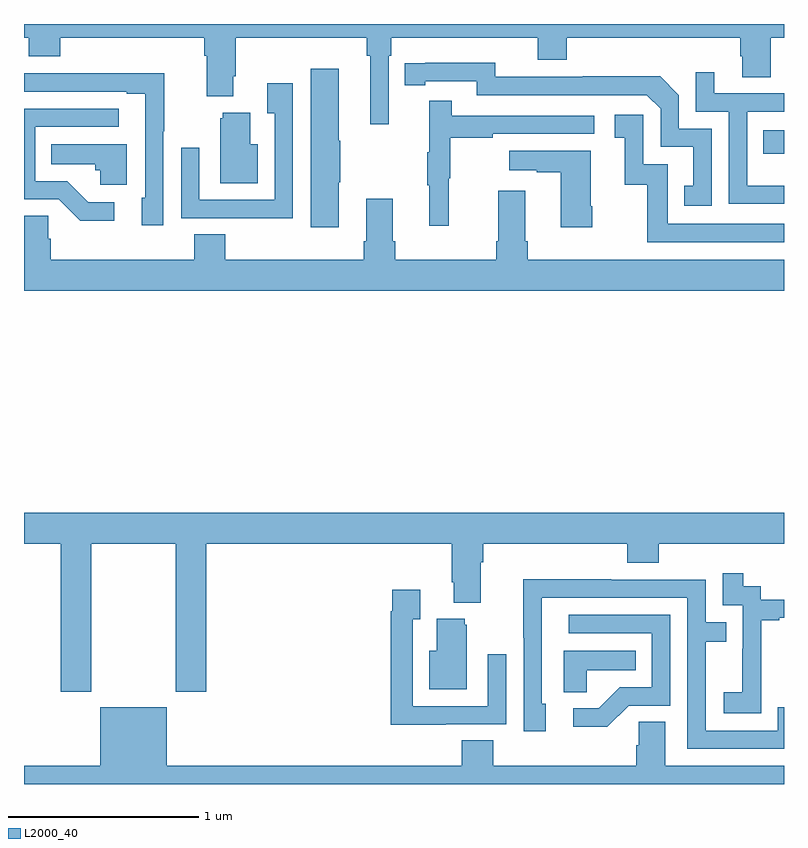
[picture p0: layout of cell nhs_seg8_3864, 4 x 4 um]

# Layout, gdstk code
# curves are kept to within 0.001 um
import gdstk
lib = gdstk.Library(unit=1e-6, precision=1e-09)
def R(c, l, rs):  # rectangles x0, y0, x1, y1
    for r in rs: c.add(gdstk.rectangle(r[:2], r[2:], *l))
def P(c, l, *ps):  # polygons
    for p in ps: c.add(gdstk.Polygon(p, *l))
L2000_40 = (2000, 40)

nhs_seg8_3864 = lib.new_cell('nhs_seg8_3864')
R(nhs_seg8_3864, L2000_40, [(352.891,1121.217,353,1121.34)])
P(nhs_seg8_3864, L2000_40, [(350.919,1121.732),(350.933,1121.732),(350.933,1121.828),(351.704,1121.828),(351.704,1121.711),(351.857,1121.711),(351.857,1121.828),(352.769,1121.828),(352.769,1121.73),(352.781,1121.73),(352.781,1121.62),(352.929,1121.62),(352.929,1121.828),(353,1121.828),(353,1121.9),(349,1121.9),(349,1121.828),(349.025,1121.828),(349.025,1121.729),(349.19,1121.729),(349.19,1121.828),(349.949,1121.828),(349.949,1121.732),(349.961,1121.732),(349.961,1121.519),(350.101,1121.519),(350.101,1121.626),(350.114,1121.626),(350.114,1121.828),(350.803,1121.828),(350.803,1121.732),(350.822,1121.732),(350.822,1121.373),(350.919,1121.373)],
  [(352.62,1121.349),(352.446,1121.349),(352.446,1121.526),(352.348,1121.624),(351.94,1121.624),(351.94,1121.622),(351.48,1121.622),(351.48,1121.695),(351.004,1121.694),(351.004,1121.578),(351.112,1121.578),(351.112,1121.598),(351.384,1121.598),(351.384,1121.526),(352.278,1121.526),(352.35,1121.454),(352.35,1121.253),(352.523,1121.253),(352.523,1121.049),(352.474,1121.049),(352.474,1120.944),(352.62,1120.944)],
  [(350.656,1121.068),(350.664,1121.068),(350.664,1121.285),(350.656,1121.285),(350.656,1121.665),(350.51,1121.665),(350.51,1120.83),(350.656,1120.83)],
  [(353,1121.05),(352.806,1121.05),(352.806,1121.439),(353,1121.439),(353,1121.535),(352.633,1121.535),(352.633,1121.647),(352.536,1121.647),(352.536,1121.439),(352.71,1121.439),(352.71,1120.953),(353,1120.953)],
  [(349.734,1121.335),(349.737,1121.335),(349.737,1121.642),(349.273,1121.642),(349.273,1121.64),(349,1121.64),(349,1121.544),(349.541,1121.544),(349.541,1121.532),(349.638,1121.532),(349.638,1120.986),(349.619,1120.986),(349.619,1120.842),(349.734,1120.842)],
  [(350.415,1121.587),(350.279,1121.587),(350.279,1121.431),(350.319,1121.431),(350.319,1120.974),(349.923,1120.974),(349.923,1121.248),(349.827,1121.248),(349.827,1120.878),(350.143,1120.878),(350.143,1120.877),(350.415,1120.877)],
  [(351.236,1121.088),(351.244,1121.088),(351.244,1121.302),(351.467,1121.302),(351.467,1121.322),(352,1121.322),(352,1121.418),(351.251,1121.418),(351.251,1121.497),(351.134,1121.497),(351.134,1121.225),(351.123,1121.225),(351.123,1121.051),(351.134,1121.051),(351.134,1120.839),(351.236,1120.839)],
  [(349.474,1120.962),(349.339,1120.962),(349.228,1121.073),(349.059,1121.073),(349.059,1121.358),(349.498,1121.358),(349.498,1121.454),(349,1121.454),(349,1120.977),(349.182,1120.977),(349.295,1120.865),(349.474,1120.865)],
  [(350.23,1121.266),(350.191,1121.266),(350.191,1121.434),(350.045,1121.434),(350.045,1121.403),(350.033,1121.403),(350.033,1121.063),(350.23,1121.063)],
  [(353,1120.848),(352.389,1120.848),(352.389,1121.163),(352.26,1121.163),(352.26,1121.422),(352.11,1121.422),(352.11,1121.301),(352.163,1121.301),(352.163,1121.055),(352.281,1121.055),(352.281,1120.752),(353,1120.752)],
  [(349.54,1121.266),(349.144,1121.266),(349.144,1121.162),(349.375,1121.162),(349.375,1121.13),(349.401,1121.13),(349.401,1121.054),(349.54,1121.054)],
  [(351.99,1120.942),(351.982,1120.942),(351.982,1121.233),(351.555,1121.233),(351.555,1121.129),(351.698,1121.129),(351.698,1121.119),(351.824,1121.119),(351.824,1120.83),(351.99,1120.83)],
  [(353,1120.66),(351.65,1120.66),(351.65,1120.756),(351.637,1120.756),(351.637,1121.023),(351.497,1121.023),(351.497,1120.756),(351.485,1120.756),(351.485,1120.66),(350.954,1120.66),(350.954,1120.756),(350.941,1120.756),(350.941,1120.981),(350.801,1120.981),(350.801,1120.756),(350.789,1120.756),(350.789,1120.66),(350.06,1120.66),(350.06,1120.793),(349.895,1120.793),(349.895,1120.66),(349.142,1120.66),(349.142,1120.769),(349.128,1120.769),(349.128,1120.892),(349,1120.892),(349,1120.496),(353,1120.496)],
  [(349.353,1119.164),(349.798,1119.164),(349.798,1118.385),(349.958,1118.385),(349.958,1119.164),(351.251,1119.164),(351.251,1118.962),(351.263,1118.962),(351.263,1118.855),(351.403,1118.855),(351.403,1119.068),(351.416,1119.068),(351.416,1119.164),(352.175,1119.164),(352.175,1119.065),(352.34,1119.065),(352.34,1119.164),(353,1119.164),(353,1119.328),(349,1119.328),(349,1119.164),(349.193,1119.164),(349.193,1118.385),(349.353,1118.385)],
  [(352.881,1118.479),(352.88,1118.479),(352.88,1118.763),(352.975,1118.763),(352.975,1118.775),(353,1118.775),(353,1118.871),(352.878,1118.871),(352.878,1118.94),(352.786,1118.94),(352.786,1119.01),(352.677,1119.01),(352.677,1118.841),(352.782,1118.841),(352.782,1118.612),(352.781,1118.612),(352.781,1118.383),(352.683,1118.383),(352.683,1118.273),(352.881,1118.273)],
  [(353,1118.304),(352.968,1118.304),(352.968,1118.181),(352.587,1118.181),(352.587,1118.65),(352.697,1118.65),(352.697,1118.751),(352.587,1118.751),(352.587,1118.976),(352.091,1118.976),(352.091,1118.978),(351.628,1118.978),(351.628,1118.671),(351.63,1118.671),(351.63,1118.178),(351.745,1118.178),(351.745,1118.322),(351.726,1118.322),(351.726,1118.88),(352.491,1118.88),(352.491,1118.085),(353,1118.085)],
  [(351.221,1118.214),(351.537,1118.214),(351.537,1118.584),(351.441,1118.584),(351.441,1118.31),(351.045,1118.31),(351.045,1118.767),(351.085,1118.767),(351.085,1118.923),(350.937,1118.923),(350.937,1118.81),(350.929,1118.81),(350.929,1118.213),(351.221,1118.213)],
  [(352.182,1118.313),(352.401,1118.313),(352.401,1118.79),(351.867,1118.79),(351.867,1118.694),(352.305,1118.694),(352.305,1118.409),(352.136,1118.409),(352.025,1118.298),(351.891,1118.298),(351.891,1118.201),(352.069,1118.201)],
  [(351.331,1118.739),(351.32,1118.739),(351.32,1118.77),(351.173,1118.77),(351.173,1118.602),(351.134,1118.602),(351.134,1118.399),(351.331,1118.399)],
  [(351.963,1118.498),(352.22,1118.498),(352.22,1118.602),(351.842,1118.602),(351.842,1118.383),(351.963,1118.383)],
  [(353,1117.996),(352.375,1117.996),(352.375,1118.228),(352.236,1118.228),(352.236,1118.105),(352.223,1118.105),(352.223,1117.996),(351.47,1117.996),(351.47,1118.129),(351.305,1118.129),(351.305,1117.996),(349.75,1117.996),(349.75,1118.305),(349.4,1118.305),(349.4,1117.996),(349,1117.996),(349,1117.9),(353,1117.9)])

lib.write_gds('nhs_seg8_3864.gds')
